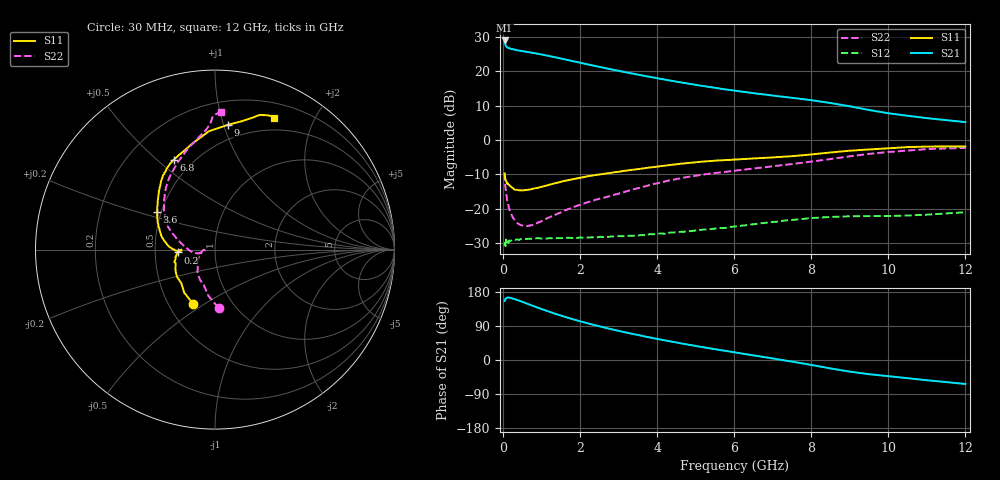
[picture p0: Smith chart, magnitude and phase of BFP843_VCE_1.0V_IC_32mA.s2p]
! Infineon Technologies  Discrete & RF Semiconductors
! BFP843
! VCE =  1.0 V,  IC =  32 mA
! Common Emitter S-Parameters:  Aug 2013
# GHz  S  MA  R  50
!  f  S11  S21  S12  S22
! GHz  MAG  ANG  MAG  ANG  MAG  ANG  MAG  ANG
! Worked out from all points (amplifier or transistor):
!   103 points, 30 MHz to 12 GHz, reference 50 ohm
!   highest |S21| = 29.0 dB at 30 MHz (marker M1)
!   |S21| within 3 dB of that: start of sweep to 441.3 MHz
!   unconditionally stable (mu >= 1): 91.43 MHz to 10.71 GHz
!   at 400 MHz: K = 1.04, MAG = 26.2 dB, |S12| = -29.0 dB
!   at 3.7 GHz: K = 1.37, MAG = 19.5 dB, |S12| = -27.7 dB
!   at 12 GHz: K = 0.88, MSG = 13.1 dB, |S12| = -21.0 dB
!   S11 on the Smith chart (normalised r, x): 30 MHz: 0.66, -0.45; 200 MHz: 0.66, -0.02; 3.6 GHz: 0.48, +0.23; 6.8 GHz: 0.40, +0.57; 9 GHz: 0.38, +1.04; 12 GHz: 0.35, +1.48
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0.03  0.3276 -111.6  28.07 155.8  0.0291 26.8  0.3255 -86.5
0.04  0.2944 -125.7  25.69 157.9  0.0321 23.2  0.2597 -98.2
0.05  0.2663 -134.5  24.45 161.0  0.0292 27.5  0.2066 -107.7
0.07  0.2524 -149.9  22.99 163.2  0.0356 10.4  0.1688 -123.7
0.08  0.2442 -154.8  22.75 163.9  0.0322 13.0  0.157 -128.7
0.13  0.2251 -167.2  21.91 164.9  0.032 9.4  0.1124 -150.0
0.2  0.2082 -175.7  21.15 163.5  0.0343 8.8  0.0844 -165.4
0.7  0.1911 -177.7  18.78 145.4  0.0367 5.4  0.0573 -173.7
1.1  0.2164 -178.5  17.05 130.6  0.0369 4.6  0.0715 -166.1
1.6  0.2558 176.3  14.88 113.8  0.0378 6.1  0.0946 -166.7
2.1  0.2901 169.4  12.91 99.2  0.0376 6.8  0.1198 -172.6
2.7  0.3278 160.5  10.94 83.7  0.0389 9.0  0.1498 179.4
3.1  0.3543 154.4  9.86 74.4  0.0399 9.8  0.1729 173.6
3.6  0.3846 146.9  8.706 63.7  0.0415 12.1  0.2062 166.6
4.1  0.4184 139.7  7.723 53.5  0.0438 13.1  0.243 160.3
5  0.475 129.8  6.346 37.0  0.0484 14.3  0.3027 152.2
6.1  0.5236 121.2  5.14 18.6  0.0559 13.7  0.3631 141.6
6.8  0.5504 114.5  4.585 7.3  0.0625 11.2  0.4025 134.5
8.5  0.6601 93.0  3.449 -22.3  0.0761 -0.4  0.5296 113.0
9  0.6994 84.0  3.093 -30.7  0.0779 -4.5  0.5804 105.3
10.5  0.7897 71.7  2.254 -48.0  0.0799 -11.8  0.7026 92.1
12  0.8057 65.9  1.824 -63.3  0.089 -18.5  0.7663 87.4
